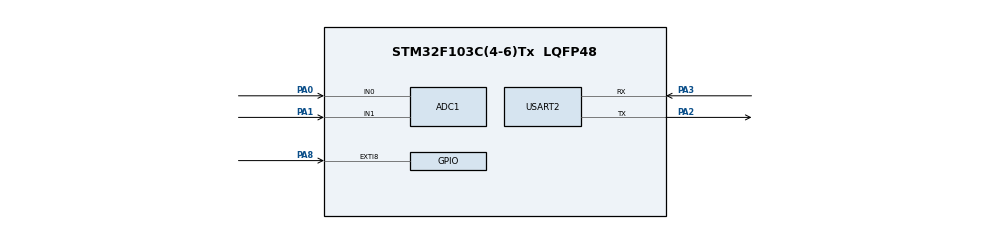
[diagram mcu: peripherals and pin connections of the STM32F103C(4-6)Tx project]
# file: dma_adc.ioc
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ADC1.Channel-0\#ChannelRegularConversion=ADC_CHANNEL_0
ADC1.Channel-1\#ChannelRegularConversion=ADC_CHANNEL_1
ADC1.ContinuousConvMode=ENABLE
ADC1.NbrOfConversion=2
ADC1.NbrOfConversionFlag=1
ADC1.Rank-0\#ChannelRegularConversion=1
ADC1.Rank-1\#ChannelRegularConversion=2
ADC1.SamplingTime-0\#ChannelRegularConversion=ADC_SAMPLETIME_239CYCLES_5
ADC1.SamplingTime-1\#ChannelRegularConversion=ADC_SAMPLETIME_239CYCLES_5
ADC1.master=1
Dma.ADC1.0.Direction=DMA_PERIPH_TO_MEMORY
Dma.ADC1.0.Instance=DMA1_Channel1
Dma.ADC1.0.MemDataAlignment=DMA_MDATAALIGN_WORD
Dma.ADC1.0.MemInc=DMA_MINC_ENABLE
Dma.ADC1.0.Mode=DMA_CIRCULAR
Dma.ADC1.0.PeriphDataAlignment=DMA_PDATAALIGN_WORD
Dma.ADC1.0.PeriphInc=DMA_PINC_DISABLE
Dma.ADC1.0.Priority=DMA_PRIORITY_HIGH
Dma.Request0=ADC1
Mcu.Family=STM32F1
Mcu.Name=STM32F103C(4-6)Tx
Mcu.Package=LQFP48
NVIC.ADC1_2_IRQn=true\:1\:0\:true\:false\:true\:true\:true\:true
NVIC.DMA1_Channel1_IRQn=true\:0\:0\:false\:false\:true\:false\:true\:true
NVIC.PriorityGroup=NVIC_PRIORITYGROUP_4
PA0-WKUP.Signal=ADCx_IN0
PA1.Signal=ADCx_IN1
PA13.Mode=Serial_Wire
PA13.Signal=SYS_JTMS-SWDIO
PA14.Mode=Serial_Wire
PA14.Signal=SYS_JTCK-SWCLK
PA2.Mode=Asynchronous
PA2.Signal=USART2_TX
PA3.Mode=Asynchronous
PA3.Signal=USART2_RX
PA8.GPIO_PuPd=GPIO_PULLUP
PA8.Signal=GPXTI8
PD0-OSC_IN.Mode=HSE-External-Oscillator
PD0-OSC_IN.Signal=RCC_OSC_IN
PD1-OSC_OUT.Mode=HSE-External-Oscillator
PD1-OSC_OUT.Signal=RCC_OSC_OUT
ProjectManager.HeapSize=0x200
ProjectManager.StackSize=0x400
ProjectManager.TargetToolchain=STM32CubeIDE
RCC.APB1Freq_Value=8000000
RCC.APB2Freq_Value=8000000
SH.ADCx_IN0.0=ADC1_IN0,IN0
SH.ADCx_IN1.0=ADC1_IN1,IN1
USART2.VirtualMode=VM_ASYNC
board=custom

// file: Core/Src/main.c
/* USER CODE BEGIN Header */
/**
  ******************************************************************************
  * @file           : main.c
  * @brief          : Main program body
  ******************************************************************************
  * @attention
  *
  * Copyright (c) 2026 STMicroelectronics.
  * All rights reserved.
  *
  * This software is licensed under terms that can be found in the LICENSE file
  * in the root directory of this software component.
  * If no LICENSE file comes with this software, it is provided AS-IS.
  *
  ******************************************************************************
  */
/* USER CODE END Header */
#include "main.h"

/* USER CODE BEGIN Includes */
#include <stdio.h>
#include "string.h"

/* USER CODE END Includes */

ADC_HandleTypeDef hadc1;
DMA_HandleTypeDef hdma_adc1;

UART_HandleTypeDef huart2;

/* USER CODE BEGIN PV */
uint16_t xvalue;
uint16_t yvalue;
uint32_t readvalue [2];
uint8_t button_state ;
char buffer[50];
/* USER CODE END PV */

void SystemClock_Config(void);
static void MX_GPIO_Init(void);
static void MX_DMA_Init(void);
static void MX_ADC1_Init(void);
static void MX_USART2_UART_Init(void);

int main(void)
{

  /* MCU Configuration--------------------------------------------------------*/

  /* Reset of all peripherals, Initializes the Flash interface and the Systick. */
  HAL_Init();

  /* Configure the system clock */
  SystemClock_Config();

  /* Initialize all configured peripherals */
  MX_GPIO_Init();
  MX_DMA_Init();
  MX_ADC1_Init();
  MX_USART2_UART_Init();
  /* USER CODE BEGIN 2 */
HAL_ADC_Start_DMA(&hadc1, (uint32_t*)readvalue, 2);
  /* USER CODE END 2 */

  /* Infinite loop */
  while (1)
  {

    /* USER CODE BEGIN 3 */
	  for( uint8_t i=0; i < hadc1.Init.NbrOfConversion ; i++)
	  {
		  xvalue = (uint16_t) readvalue [0];
		  yvalue = (uint16_t) readvalue [1];
	  }
	  button_state = HAL_GPIO_ReadPin(GPIOA, GPIO_PIN_8);
	  snprintf(buffer, sizeof(buffer), "x value : %d, y value : %d , Button : %d \r\n", xvalue, yvalue, button_state);
	  HAL_UART_Transmit(&huart2, (uint8_t*) buffer, sizeof(buffer), HAL_MAX_DELAY);
	  HAL_Delay (500);
  }
  /* USER CODE END 3 */
}

void SystemClock_Config(void)
{
  RCC_OscInitTypeDef RCC_OscInitStruct = {0};
  RCC_ClkInitTypeDef RCC_ClkInitStruct = {0};
  RCC_PeriphCLKInitTypeDef PeriphClkInit = {0};

  /** Initializes the RCC Oscillators according to the specified parameters
  * in the RCC_OscInitTypeDef structure.
  */
  RCC_OscInitStruct.OscillatorType = RCC_OSCILLATORTYPE_HSI;
  RCC_OscInitStruct.HSIState = RCC_HSI_ON;
  RCC_OscInitStruct.HSICalibrationValue = RCC_HSICALIBRATION_DEFAULT;
  RCC_OscInitStruct.PLL.PLLState = RCC_PLL_NONE;
  if (HAL_RCC_OscConfig(&RCC_OscInitStruct) != HAL_OK)
  {
    Error_Handler();
  }

  /** Initializes the CPU, AHB and APB buses clocks
  */
  RCC_ClkInitStruct.ClockType = RCC_CLOCKTYPE_HCLK|RCC_CLOCKTYPE_SYSCLK
                              |RCC_CLOCKTYPE_PCLK1|RCC_CLOCKTYPE_PCLK2;
  RCC_ClkInitStruct.SYSCLKSource = RCC_SYSCLKSOURCE_HSI;
  RCC_ClkInitStruct.AHBCLKDivider = RCC_SYSCLK_DIV1;
  RCC_ClkInitStruct.APB1CLKDivider = RCC_HCLK_DIV1;
  RCC_ClkInitStruct.APB2CLKDivider = RCC_HCLK_DIV1;

  if (HAL_RCC_ClockConfig(&RCC_ClkInitStruct, FLASH_LATENCY_0) != HAL_OK)
  {
    Error_Handler();
  }
  PeriphClkInit.PeriphClockSelection = RCC_PERIPHCLK_ADC;
  PeriphClkInit.AdcClockSelection = RCC_ADCPCLK2_DIV2;
  if (HAL_RCCEx_PeriphCLKConfig(&PeriphClkInit) != HAL_OK)
  {
    Error_Handler();
  }
}

static void MX_ADC1_Init(void)
{

  ADC_ChannelConfTypeDef sConfig = {0};

  /** Common config
  */
  hadc1.Instance = ADC1;
  hadc1.Init.ScanConvMode = ADC_SCAN_ENABLE;
  hadc1.Init.ContinuousConvMode = ENABLE;
  hadc1.Init.DiscontinuousConvMode = DISABLE;
  hadc1.Init.ExternalTrigConv = ADC_SOFTWARE_START;
  hadc1.Init.DataAlign = ADC_DATAALIGN_RIGHT;
  hadc1.Init.NbrOfConversion = 2;
  if (HAL_ADC_Init(&hadc1) != HAL_OK)
  {
    Error_Handler();
  }

  /** Configure Regular Channel
  */
  sConfig.Channel = ADC_CHANNEL_0;
  sConfig.Rank = ADC_REGULAR_RANK_1;
  sConfig.SamplingTime = ADC_SAMPLETIME_239CYCLES_5;
  if (HAL_ADC_ConfigChannel(&hadc1, &sConfig) != HAL_OK)
  {
    Error_Handler();
  }

  /** Configure Regular Channel
  */
  sConfig.Channel = ADC_CHANNEL_1;
  sConfig.Rank = ADC_REGULAR_RANK_2;
  if (HAL_ADC_ConfigChannel(&hadc1, &sConfig) != HAL_OK)
  {
    Error_Handler();
  }

}

static void MX_USART2_UART_Init(void)
{

  huart2.Instance = USART2;
  huart2.Init.BaudRate = 115200;
  huart2.Init.WordLength = UART_WORDLENGTH_8B;
  huart2.Init.StopBits = UART_STOPBITS_1;
  huart2.Init.Parity = UART_PARITY_NONE;
  huart2.Init.Mode = UART_MODE_TX_RX;
  huart2.Init.HwFlowCtl = UART_HWCONTROL_NONE;
  huart2.Init.OverSampling = UART_OVERSAMPLING_16;
  if (HAL_UART_Init(&huart2) != HAL_OK)
  {
    Error_Handler();
  }

}

static void MX_DMA_Init(void)
{

  /* DMA controller clock enable */
  __HAL_RCC_DMA1_CLK_ENABLE();

  /* DMA interrupt init */
  /* DMA1_Channel1_IRQn interrupt configuration */
  HAL_NVIC_SetPriority(DMA1_Channel1_IRQn, 0, 0);
  HAL_NVIC_EnableIRQ(DMA1_Channel1_IRQn);

}

static void MX_GPIO_Init(void)
{
  GPIO_InitTypeDef GPIO_InitStruct = {0};

  /* GPIO Ports Clock Enable */
  __HAL_RCC_GPIOD_CLK_ENABLE();
  __HAL_RCC_GPIOA_CLK_ENABLE();

  /*Configure GPIO pin : PA8 */
  GPIO_InitStruct.Pin = GPIO_PIN_8;
  GPIO_InitStruct.Mode = GPIO_MODE_IT_RISING;
  GPIO_InitStruct.Pull = GPIO_PULLUP;
  HAL_GPIO_Init(GPIOA, &GPIO_InitStruct);

}

void Error_Handler(void)
{
  __disable_irq();
  while (1)
  {
  }
}
